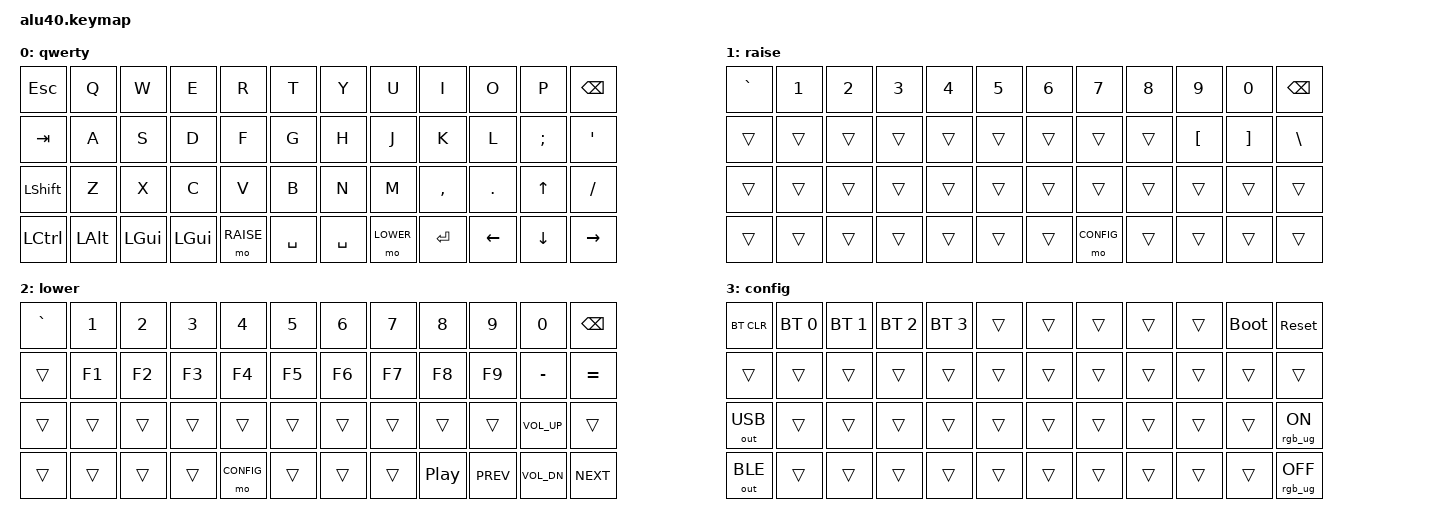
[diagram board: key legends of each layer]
#include <behaviors.dtsi>
#include <dt-bindings/zmk/backlight.h>
#include <dt-bindings/zmk/bt.h>
#include <dt-bindings/zmk/ext_power.h>
#include <dt-bindings/zmk/keys.h>
#include <dt-bindings/zmk/outputs.h>
#include <dt-bindings/zmk/rgb.h>

&kscan0 {
    debounce-press-ms = <30>;
    debounce-release-ms = <3>;
};

#define QWERTY 0
#define RAISE 1
#define LOWER 2
#define CONFIG 3

/ {
  keymap0: keymap {
    compatible = "zmk,keymap";

    qwerty {
      bindings = <
       &kp ESC        &kp Q       &kp W       &kp E       &kp R       &kp T       &kp Y       &kp U       &kp I       &kp O       &kp P      &kp BSPC
       &kp TAB        &kp A       &kp S       &kp D       &kp F       &kp G       &kp H       &kp J       &kp K       &kp L       &kp SEMI   &kp SQT
       &kp LSHFT      &kp Z       &kp X       &kp C       &kp V       &kp B       &kp N       &kp M       &kp COMMA   &kp DOT     &kp UP     &kp FSLH
       &kp LCTRL      &kp LALT    &kp LGUI    &kp LGUI    &mo RAISE   &kp SPACE   &kp SPACE   &mo LOWER   &kp RET     &kp LEFT    &kp DOWN   &kp RIGHT
      >;
    };
    
    raise {
      bindings = <
       &kp GRAVE   &kp N1    &kp N2    &kp N3    &kp N4   &kp N5   &kp N6   &kp N7      &kp N8      &kp N9      &kp N0     &kp BSPC
       &trans      &trans    &trans    &trans    &trans   &trans   &trans   &trans      &trans      &kp LBKT    &kp RBKT   &kp BSLH
       &trans      &trans    &trans    &trans    &trans   &trans   &trans   &trans      &trans      &trans      &trans     &trans
       &trans      &trans    &trans    &trans    &trans   &trans   &trans   &mo CONFIG  &trans      &trans      &trans     &trans
      >;
    };

    lower {
      bindings = <
       &kp GRAVE   &kp N1      &kp N2      &kp N3      &kp N4      &kp N5      &kp N6      &kp N7      &kp N8      &kp N9      &kp N0        &kp BSPC
       &trans      &kp F1      &kp F2      &kp F3      &kp F4      &kp F5      &kp F6      &kp F7      &kp F8      &kp F9      &kp MINUS     &kp EQUAL
       &trans      &trans      &trans      &trans      &trans      &trans      &trans      &trans      &trans      &trans      &kp C_VOL_UP  &trans
       &trans      &trans      &trans      &trans      &mo CONFIG  &trans      &trans      &trans      &kp C_PP    &kp C_PREV  &kp C_VOL_DN  &kp C_NEXT
      >;
    };

    config {
      bindings = <
       &bt BT_CLR    &bt BT_SEL 0  &bt BT_SEL 1  &bt BT_SEL 2  &bt BT_SEL 3   &trans   &trans   &trans   &trans   &trans   &bootloader   &sys_reset
       &trans        &trans        &trans        &trans        &trans         &trans   &trans   &trans   &trans   &trans   &trans        &trans
       &out OUT_USB  &trans        &trans        &trans        &trans         &trans   &trans   &trans   &trans   &trans   &trans        &rgb_ug RGB_ON
       &out OUT_BLE  &trans        &trans        &trans        &trans         &trans   &trans   &trans   &trans   &trans   &trans        &rgb_ug RGB_OFF
      >;
    };
  };
};
